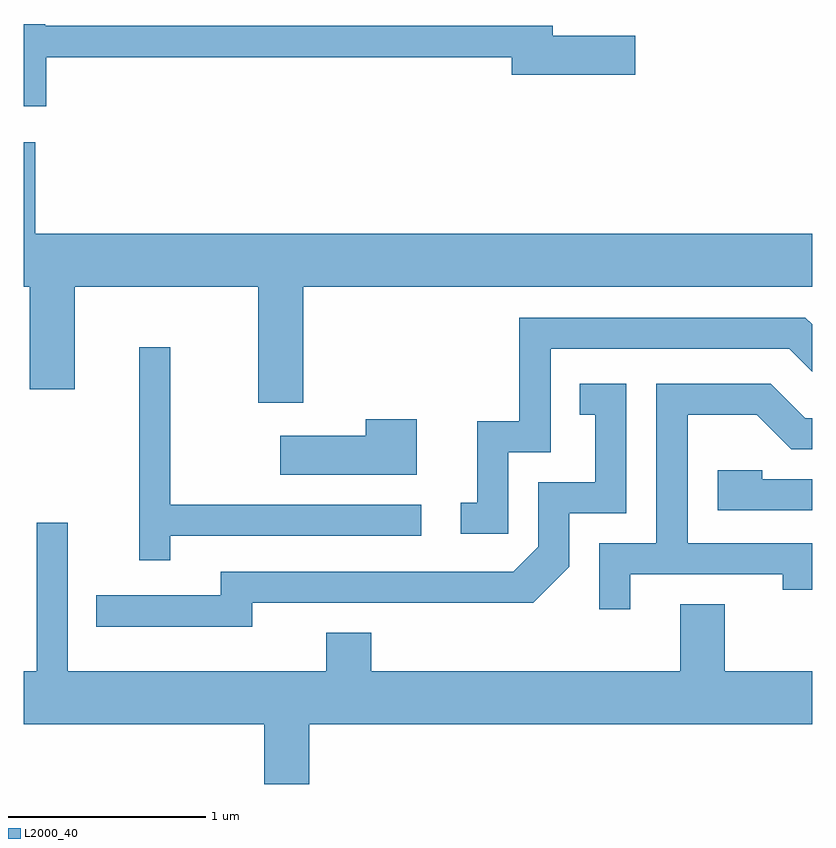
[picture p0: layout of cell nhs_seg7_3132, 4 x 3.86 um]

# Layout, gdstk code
import gdstk
lib = gdstk.Library(unit=1e-6, precision=1e-09)
def P(c, l, *ps):  # polygons
    for p in ps: c.add(gdstk.Polygon(p, *l))
L2000_40 = (2000, 40)

nhs_seg7_3132 = lib.new_cell('nhs_seg7_3132')
P(nhs_seg7_3132, L2000_40, [(281.724,1699.941),(284.086,1699.941),(284.086,1699.851),(284.714,1699.851),(284.714,1700.049),(284.294,1700.049),(284.294,1700.099),(281.72,1700.099),(281.72,1700.109),(281.611,1700.109),(281.611,1699.691),(281.724,1699.691)],
  [(283.029,1698.776),(285.611,1698.776),(285.611,1699.044),(281.669,1699.044),(281.669,1699.508),(281.611,1699.508),(281.611,1698.776),(281.641,1698.776),(281.641,1698.256),(281.869,1698.256),(281.869,1698.776),(282.801,1698.776),(282.801,1698.186),(283.029,1698.186)],
  [(284.069,1697.936),(284.284,1697.936),(284.284,1698.461),(285.494,1698.461),(285.611,1698.344),(285.611,1698.585),(285.577,1698.619),(284.126,1698.619),(284.126,1698.094),(283.911,1698.094),(283.911,1697.679),(283.828,1697.679),(283.828,1697.521),(284.069,1697.521)],
  [(282.354,1697.511),(283.628,1697.511),(283.628,1697.669),(282.354,1697.669),(282.354,1698.468),(282.196,1698.468),(282.196,1697.388),(282.354,1697.388)],
  [(282.769,1697.171),(284.197,1697.171),(284.379,1697.354),(284.379,1697.626),(284.669,1697.626),(284.669,1698.284),(284.433,1698.284),(284.433,1698.126),(284.511,1698.126),(284.511,1697.784),(284.221,1697.784),(284.221,1697.457),(284.094,1697.329),(282.611,1697.329),(282.611,1697.209),(281.978,1697.209),(281.978,1697.051),(282.769,1697.051)],
  [(284.689,1697.316),(285.461,1697.316),(285.461,1697.238),(285.611,1697.238),(285.611,1697.474),(284.979,1697.474),(284.979,1698.126),(285.329,1698.126),(285.504,1697.951),(285.611,1697.951),(285.611,1698.109),(285.577,1698.109),(285.402,1698.284),(284.821,1698.284),(284.821,1697.474),(284.531,1697.474),(284.531,1697.138),(284.689,1697.138)],
  [(283.604,1698.104),(283.346,1698.104),(283.346,1698.019),(282.911,1698.019),(282.911,1697.821),(283.604,1697.821)],
  [(285.611,1697.799),(285.359,1697.799),(285.359,1697.844),(285.131,1697.844),(285.131,1697.641),(285.611,1697.641)],
  [(283.059,1696.556),(285.611,1696.556),(285.611,1696.824),(285.169,1696.824),(285.169,1697.164),(284.941,1697.164),(284.941,1696.824),(283.374,1696.824),(283.374,1697.019),(283.146,1697.019),(283.146,1696.824),(281.834,1696.824),(281.834,1697.578),(281.676,1697.578),(281.676,1696.824),(281.611,1696.824),(281.611,1696.556),(282.831,1696.556),(282.831,1696.252),(283.059,1696.252)])

lib.write_gds('nhs_seg7_3132.gds')
